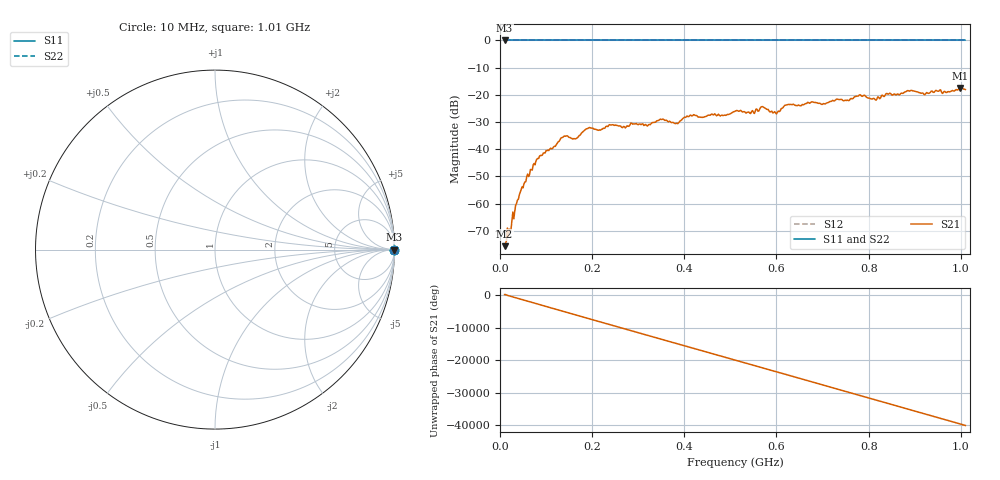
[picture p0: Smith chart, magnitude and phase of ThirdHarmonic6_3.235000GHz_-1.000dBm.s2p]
! 8/17/2025 9:54:58 AM
! C:\ANRITSUVNA\TEMP\TEMP.S2P
! CHANNEL.1
! TR.MEASUREMENT
! RAW.DATA
! RF.CORRECTION.OFF
! AVERAGING.OFF
! IF.BANDWIDTH: 5KHZ
! SWEEPTYPE:  FREQ.SWEEP(Linear)
! Reference Plane Port Info
! PORT:  PORT1  PORT2
! DISTANCE:  0  m  0  m
! TIME:  0  s  0  s
! PHASE.OFFSET:  0  deg.  0  deg.
! LOSS:  0  dB  0  dB
! REF.LOSS:  0  dB  0  dB
! REF.FREQ:  0  Hz  0  Hz
! Power Info
! POWER:  -20  dBm  -20  dBm
! EFF.POWER:  -20  dBm  -20  dBm
! SOURCE.ATTEN:  0  dB  0  dB
! TEST.ATTEN:  0  dB  0  dB
# GHZ S RI R 50.0
! FREQ.GHZ  S11RE  S11IM  S21RE  S21IM  S12RE  S12IM  S22RE  S22IM
!; PortSelection: Port_12
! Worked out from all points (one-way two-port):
!   501 points, 10 MHz to 1.01 GHz, reference 50 ohm
!   highest |S21| = -17.50 dB at 998 MHz (marker M1); lowest = -75.7 dB at 10 MHz (marker M2)
!   lowest |S11| = 0.0 dB at 10 MHz (marker M3)
!   |S11| at or under -10 dB: nowhere
!   |S22| runs from 0.0 to 0.0 dB; largest |S21 - S12| = 1.1
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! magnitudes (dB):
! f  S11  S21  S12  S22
! 10 MHz  0.0  -75.7  0.0  0.0
! 44 MHz  0.0  -55.8  0.0  0.0
! 82 MHz  0.0  -43.4  0.0  0.0
! 136 MHz  0.0  -35.6  0.0  0.0
! 162 MHz  0.0  -36.1  0.0  0.0
! 178 MHz  0.0  -33.9  0.0  0.0
! 192 MHz  0.0  -32.2  0.0  0.0
! 322 MHz  0.0  -31.0  0.0  0.0
! 344 MHz  0.0  -29.4  0.0  0.0
! 384 MHz  0.0  -30.5  0.0  0.0
! 410 MHz  0.0  -28.0  0.0  0.0
! 510 MHz  0.0  -26.1  0.0  0.0
! 548 MHz  0.0  -25.8  0.0  0.0
! 570 MHz  0.0  -24.3  0.0  0.0
! 596 MHz  0.0  -26.2  0.0  0.0
! 622 MHz  0.0  -23.7  0.0  0.0
! 678 MHz  0.0  -22.6  0.0  0.0
! 780 MHz  0.0  -20.0  0.0  0.0
! 814 MHz  0.0  -21.7  0.0  0.0
! 844 MHz  0.0  -19.7  0.0  0.0
! 998 MHz  0.0  -17.5  0.0  0.0
! 1.01 GHz  0.0  -18.1  0.0  0.0
